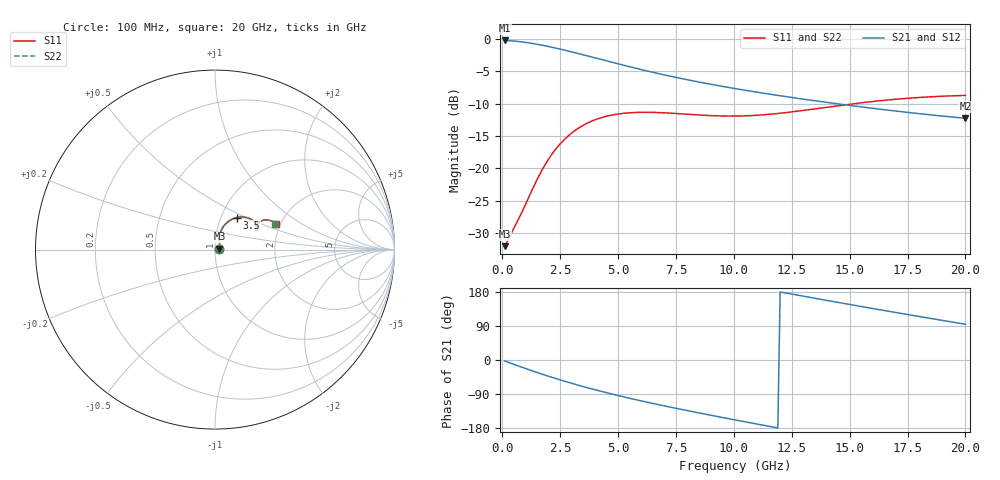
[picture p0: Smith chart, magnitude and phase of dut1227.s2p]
! Touchstone file exported from HFSS 2024.1.0
!  File:  C:/UserFiles/LocalFiles/RDL_TSV_Batchsim/temp_RDL_TSV_1227_1780263515.aedt
!  Generated:  05:57:56 AM Jun  1, 2026
!  Design:  RDL_TSV
!  Project:  temp_RDL_TSV_1227_1780263515
!  Setup:  Setup1
!  Solution:  Sweep
! Variables:
!  dtsv = 9.26um
!  hbump = 3um
!  htsv = 83.57um
!  ldown = 660.5um
!  lrdl = 466.62um
!  p = 40
!  p1 = 55.07um
!  rhole = 10um
!  subl = 3847.98um
!  t = 450um
!  tdown = 2.67um
!  trdl = 2.64um
!  viad = 10um
!  wdown = 19.44um
!  wrdl = 23.85um
!  xbump = 18um
# GHz S MA R 50.000000
! Terminal data exported
! Port[1] = TM1_1_T1
! Port[2] = TM1_4_T1
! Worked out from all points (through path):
!   200 points, 100 MHz to 20 GHz, reference 50 ohm
!   highest |S21| = -0.22 dB at 100 MHz (marker M1); lowest = -12.3 dB at 20 GHz (marker M2)
!   group delay of S21, straight-line fit = 34.9 ps
!   lowest |S11| = -32.0 dB at 100 MHz (marker M3), VSWR 1.05, Z = 52.5 + j0.534 ohm
!   |S11| at or under -10 dB: start of sweep to 15.19 GHz
!   |S22| runs from -32.0 to -8.7 dB; largest |S21 - S12| = 8.9e-15
!   S11 on the Smith chart (normalised r, x): 100 MHz: 1.05, +0.01; 3.5 GHz: 1.19, +0.44; 20 GHz: 1.88, +0.62
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0.1  0.02498 11.7  0.9752 -2.3  0.9752 -2.3  0.02498 11.7
! Gamma 0 0 0 0
! Port Impedance 50 0 50 0
0.5  0.03442 41.2  0.9649 -11.4  0.9649 -11.4  0.03442 41.2
0.9  0.04791 59.3  0.9475 -20.2  0.9475 -20.2  0.04792 59.3
1.4  0.07518 70.8  0.9182 -30.8  0.9182 -30.8  0.07519 70.8
1.8  0.1031 72.4  0.8902 -38.9  0.8902 -38.9  0.1031 72.4
2.2  0.1327 70.4  0.8598 -46.8  0.8598 -46.8  0.1327 70.3
2.6  0.1616 66.5  0.8279 -54.3  0.8279 -54.3  0.1615 66.5
3  0.1878 61.9  0.7954 -61.6  0.7954 -61.6  0.1877 61.8
3.5  0.2156 55.9  0.755 -70.2  0.755 -70.2  0.2154 55.8
4.3  0.2472 46.8  0.693 -83.2  0.693 -83.2  0.2469 46.7
5.1  0.2645 39.1  0.6364 -95.3  0.6364 -95.3  0.2642 39.1
5.9  0.2709 33.1  0.5863 -106.6  0.5863 -106.6  0.2705 33.1
6.8  0.2697 28.4  0.5376 -118.5  0.5376 -118.5  0.2692 28.4
7.6  0.2647 26.0  0.5005 -128.7  0.5005 -128.7  0.2642 26.0
8.4  0.2591 25.1  0.4683 -138.5  0.4683 -138.5  0.2585 25.0
10.1  0.2536 26.7  0.4123 -158.7  0.4123 -158.7  0.253 26.7
11.6  0.2623 29.6  0.3733 -175.9  0.3733 -175.9  0.2617 29.7
13.4  0.2867 31.7  0.3349 164.0  0.3349 164.0  0.2862 31.8
15  0.3132 31.3  0.3066 146.5  0.3066 146.5  0.3128 31.4
16.7  0.3385 29.1  0.2812 128.4  0.2812 128.4  0.3382 29.2
18.3  0.3559 26.2  0.2612 111.7  0.2612 111.7  0.3556 26.3
20  0.3663 23.0  0.2437 94.3  0.2437 94.3  0.366 23.0
